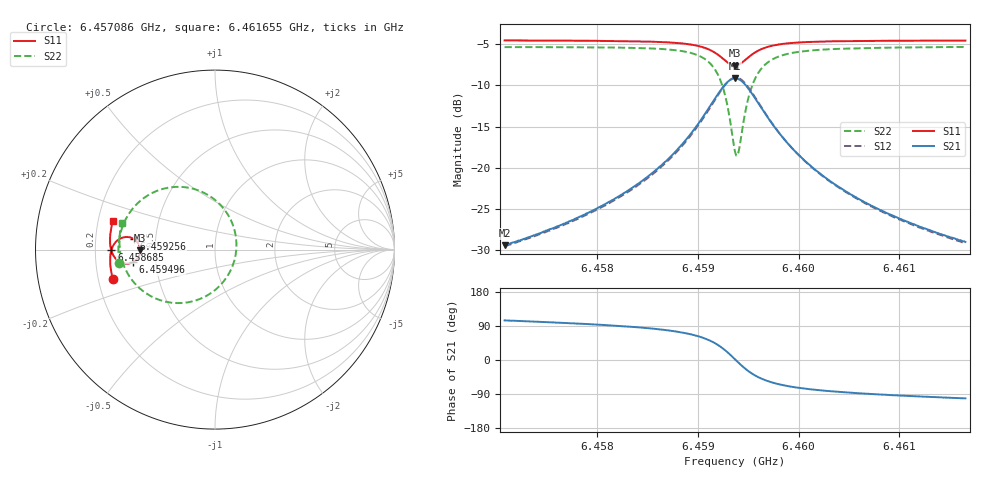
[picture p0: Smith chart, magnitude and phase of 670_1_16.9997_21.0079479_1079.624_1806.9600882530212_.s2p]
#  HZ  S  RI  R  50.00
! Rohde & Schwarz Vector Network Analyzer
! Rohde-Schwarz,ZNB20-2Port,1311601062101988,3.16
! Created: UTC 3/20/2024, 11:22:07 PM
! freq[Hz]  re:S11  im:S11  re:S21  im:S21  re:S12  im:S12  re:S22  im:S22
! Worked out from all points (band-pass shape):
!   401 points, 6.457086 GHz to 6.461655 GHz, reference 50 ohm
!   highest |S21| = -9.14 dB at 6.45937 GHz (marker M1); lowest = -29.4 dB at 6.457086 GHz (marker M2)
!   |S21| within 3 dB of the highest: 6.459143 GHz to 6.4596 GHz (456.9 kHz wide, 0.00707 % of centre)
!   lowest |S11| = -7.6 dB at 6.45937 GHz (marker M3), VSWR 2.43, Z = 20.6 - j0.21 ohm
!   |S11| at or under -10 dB: nowhere
!   |S22| runs from -18.5 to -5.3 dB; largest |S21 - S12| = 0.014
!   S11 on the Smith chart (normalised r, x): 6.457086 GHz: 0.26, -0.13; 6.458685 GHz: 0.27, -0.00; 6.459256 GHz: 0.37, +0.06; 6.459496 GHz: 0.37, -0.07; 6.461655 GHz: 0.26, +0.13
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6.457086e9  -0.5691 -0.1637  -0.00845 0.0328  -0.0067 0.0328  -0.5343 -0.0756
6.4578512e9  -0.582 -0.0965  -0.005 0.051  -0.00235 0.0503  -0.5381 0.0146
6.4582624e9  -0.5843 -0.0552  0.00106 0.0697  0.0043 0.0684  -0.5294 0.08
6.4586165e9  -0.5799 -0.0128  0.0158 0.0995  0.0197 0.0965  -0.5021 0.1598
6.458685e9  -0.5775 -0.00341  0.0211 0.1076  0.0253 0.1044  -0.4917 0.1797
6.4588792e9  -0.5645 0.0268  0.0482 0.1385  0.0523 0.1335  -0.4407 0.2486
6.4590277e9  -0.5414 0.0531  0.0941 0.1687  0.0972 0.1617  -0.3561 0.3124
6.4591647e9  -0.4973 0.0701  0.1818 0.1844  0.1827 0.177  -0.1955 0.3496
6.4592561e9  -0.4526 0.0596  0.2719 0.1524  0.2721 0.1467  -0.0284 0.2978
6.4593246e9  -0.4234 0.0271  0.3325 0.0798  0.3346 0.0745  0.0874 0.1669
6.4593703e9  -0.4166 -0.00422  0.3488 0.0112  0.3525 0.00428  0.1193 0.0384
6.4594046e9  -0.4206 -0.028  0.3427 -0.0418  0.3468 -0.0509  0.1076 -0.0622
6.4594503e9  -0.4364 -0.0544  0.3136 -0.1022  0.3159 -0.1142  0.0487 -0.1766
6.459496e9  -0.4587 -0.0709  0.2706 -0.1435  0.27 -0.157  -0.0381 -0.2523
6.4595417e9  -0.4819 -0.0779  0.2255 -0.1661  0.2215 -0.1791  -0.129 -0.2892
6.4595874e9  -0.5026 -0.0776  0.1845 -0.1744  0.1781 -0.1864  -0.2101 -0.2979
6.4597358e9  -0.5469 -0.0568  0.0955 -0.1596  0.0867 -0.1659  -0.3798 -0.2462
6.4598957e9  -0.5684 -0.0288  0.0504 -0.1308  0.0425 -0.1336  -0.4606 -0.1722
6.4601356e9  -0.5809 0.00697  0.0213 -0.0985  0.0154 -0.0991  -0.508 -0.0883
6.4604554e9  -0.5849 0.0454  0.00617 -0.0726  0.00186 -0.0721  -0.5282 -0.0126
6.4609009e9  -0.5827 0.0906  -0.00213 -0.0523  -0.00501 -0.0514  -0.5322 0.0604
6.4616547e9  -0.5699 0.1574  -0.00693 -0.0349  -0.0086 -0.0339  -0.5196 0.1498
